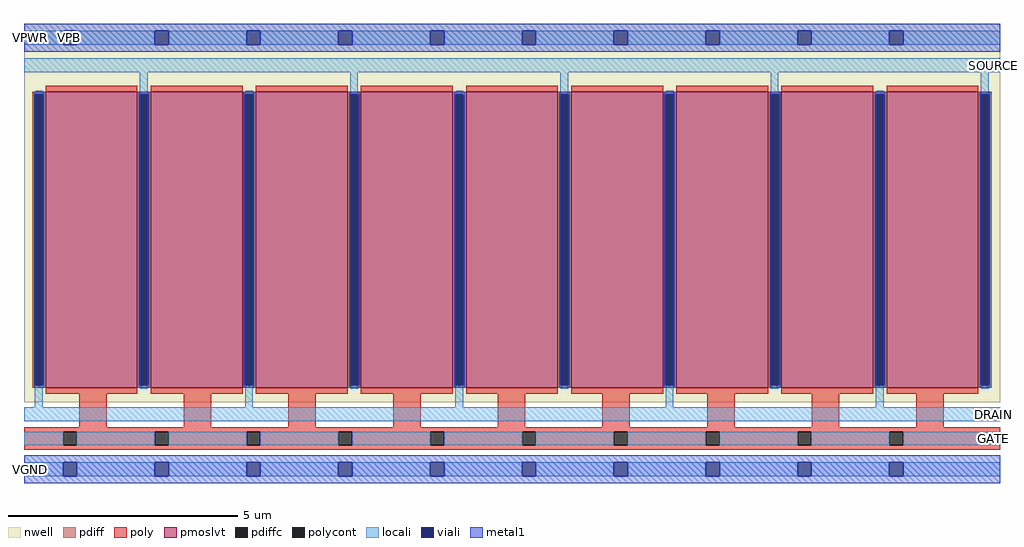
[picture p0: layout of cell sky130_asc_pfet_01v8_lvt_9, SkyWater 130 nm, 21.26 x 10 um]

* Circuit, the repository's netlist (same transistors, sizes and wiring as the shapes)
* NGSPICE file created from sky130_asc_pfet_01v8_lvt_9.ext - technology: sky130A

.subckt sky130_asc_pfet_01v8_lvt_9 GATE SOURCE DRAIN VGND VPWR
X0 DRAIN GATE SOURCE VPWR sky130_fd_pr__pfet_01v8_lvt ad=9.3525e+12p pd=6.74e+07u as=9.3525e+12p ps=6.74e+07u w=6.45e+06u l=2e+06u
X1 SOURCE GATE DRAIN VPWR sky130_fd_pr__pfet_01v8_lvt ad=0p pd=0u as=0p ps=0u w=6.45e+06u l=2e+06u
X2 DRAIN GATE SOURCE VPWR sky130_fd_pr__pfet_01v8_lvt ad=0p pd=0u as=0p ps=0u w=6.45e+06u l=2e+06u
X3 SOURCE GATE DRAIN VPWR sky130_fd_pr__pfet_01v8_lvt ad=0p pd=0u as=0p ps=0u w=6.45e+06u l=2e+06u
X4 DRAIN GATE SOURCE VPWR sky130_fd_pr__pfet_01v8_lvt ad=0p pd=0u as=0p ps=0u w=6.45e+06u l=2e+06u
X5 SOURCE GATE DRAIN VPWR sky130_fd_pr__pfet_01v8_lvt ad=0p pd=0u as=0p ps=0u w=6.45e+06u l=2e+06u
X6 DRAIN GATE SOURCE VPWR sky130_fd_pr__pfet_01v8_lvt ad=0p pd=0u as=0p ps=0u w=6.45e+06u l=2e+06u
X7 SOURCE GATE DRAIN VPWR sky130_fd_pr__pfet_01v8_lvt ad=0p pd=0u as=0p ps=0u w=6.45e+06u l=2e+06u
X8 SOURCE GATE DRAIN VPWR sky130_fd_pr__pfet_01v8_lvt ad=0p pd=0u as=0p ps=0u w=6.45e+06u l=2e+06u
.ends

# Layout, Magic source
magic
tech sky130A
magscale 1 2
<< nwell >>
rect 0 293 4252 1940
<< pmoslvt >>
rect 94 355 494 1645
rect 552 355 952 1645
rect 1010 355 1410 1645
rect 1468 355 1868 1645
rect 1926 355 2326 1645
rect 2384 355 2784 1645
rect 2842 355 3242 1645
rect 3300 355 3700 1645
rect 3758 355 4158 1645
<< pdiff >>
rect 36 1633 94 1645
rect 36 367 48 1633
rect 82 367 94 1633
rect 36 355 94 367
rect 494 1633 552 1645
rect 494 367 506 1633
rect 540 367 552 1633
rect 494 355 552 367
rect 952 1633 1010 1645
rect 952 367 964 1633
rect 998 367 1010 1633
rect 952 355 1010 367
rect 1410 1633 1468 1645
rect 1410 367 1422 1633
rect 1456 367 1468 1633
rect 1410 355 1468 367
rect 1868 1633 1926 1645
rect 1868 367 1880 1633
rect 1914 367 1926 1633
rect 1868 355 1926 367
rect 2326 1633 2384 1645
rect 2326 367 2338 1633
rect 2372 367 2384 1633
rect 2326 355 2384 367
rect 2784 1633 2842 1645
rect 2784 367 2796 1633
rect 2830 367 2842 1633
rect 2784 355 2842 367
rect 3242 1633 3300 1645
rect 3242 367 3254 1633
rect 3288 367 3300 1633
rect 3242 355 3300 367
rect 3700 1633 3758 1645
rect 3700 367 3712 1633
rect 3746 367 3758 1633
rect 3700 355 3758 367
rect 4158 1633 4216 1645
rect 4158 367 4170 1633
rect 4204 367 4216 1633
rect 4158 355 4216 367
<< pdiffc >>
rect 48 367 82 1633
rect 506 367 540 1633
rect 964 367 998 1633
rect 1422 367 1456 1633
rect 1880 367 1914 1633
rect 2338 367 2372 1633
rect 2796 367 2830 1633
rect 3254 367 3288 1633
rect 3712 367 3746 1633
rect 4170 367 4204 1633
<< poly >>
rect 94 1645 494 1671
rect 552 1645 952 1671
rect 1010 1645 1410 1671
rect 1468 1645 1868 1671
rect 1926 1645 2326 1671
rect 2384 1645 2784 1671
rect 2842 1645 3242 1671
rect 3300 1645 3700 1671
rect 3758 1645 4158 1671
rect 94 329 494 355
rect 552 329 952 355
rect 1010 329 1410 355
rect 1468 329 1868 355
rect 1926 329 2326 355
rect 2384 329 2784 355
rect 2842 329 3242 355
rect 3300 329 3700 355
rect 3758 329 4158 355
rect 240 184 360 329
rect 696 184 816 329
rect 1152 184 1272 329
rect 1608 184 1728 329
rect 2064 184 2184 329
rect 2520 184 2640 329
rect 2976 184 3096 329
rect 3432 184 3552 329
rect 3888 184 4008 329
rect 0 164 4252 184
rect 0 104 170 164
rect 230 104 570 164
rect 630 104 970 164
rect 1030 104 1370 164
rect 1430 104 1770 164
rect 1830 104 2170 164
rect 2230 104 2570 164
rect 2630 104 2970 164
rect 3030 104 3370 164
rect 3430 104 3770 164
rect 3830 104 4252 164
rect 0 84 4252 104
<< polycont >>
rect 170 104 230 164
rect 570 104 630 164
rect 970 104 1030 164
rect 1370 104 1430 164
rect 1770 104 1830 164
rect 2170 104 2230 164
rect 2570 104 2630 164
rect 2970 104 3030 164
rect 3370 104 3430 164
rect 3770 104 3830 164
<< locali >>
rect 0 1850 170 1910
rect 230 1850 570 1910
rect 630 1850 970 1910
rect 1030 1850 1370 1910
rect 1430 1850 1770 1910
rect 1830 1850 2170 1910
rect 2230 1850 2570 1910
rect 2630 1850 2970 1910
rect 3030 1850 3370 1910
rect 3430 1850 3770 1910
rect 3830 1850 4252 1910
rect 0 1730 4252 1790
rect 505 1649 539 1730
rect 1421 1649 1455 1730
rect 2337 1649 2371 1730
rect 3253 1649 3287 1730
rect 4169 1649 4203 1730
rect 48 1633 82 1649
rect 47 367 48 374
rect 505 1633 540 1649
rect 505 1626 506 1633
rect 47 351 82 367
rect 964 1633 998 1649
rect 506 351 540 367
rect 963 367 964 374
rect 1421 1633 1456 1649
rect 1421 1626 1422 1633
rect 963 351 998 367
rect 1880 1633 1914 1649
rect 1422 351 1456 367
rect 1879 367 1880 374
rect 2337 1633 2372 1649
rect 2337 1626 2338 1633
rect 1879 351 1914 367
rect 2796 1633 2830 1649
rect 2338 351 2372 367
rect 2795 367 2796 374
rect 3253 1633 3288 1649
rect 3253 1626 3254 1633
rect 2795 351 2830 367
rect 3712 1633 3746 1649
rect 3254 351 3288 367
rect 3711 367 3712 374
rect 4169 1633 4204 1649
rect 4169 1626 4170 1633
rect 3711 351 3746 367
rect 4170 351 4204 367
rect 47 270 81 351
rect 963 270 997 351
rect 1879 270 1913 351
rect 2795 270 2829 351
rect 3711 270 3745 351
rect 0 210 4252 270
rect 0 104 170 164
rect 230 104 570 164
rect 630 104 970 164
rect 1030 104 1370 164
rect 1430 104 1770 164
rect 1830 104 2170 164
rect 2230 104 2570 164
rect 2630 104 2970 164
rect 3030 104 3370 164
rect 3430 104 3770 164
rect 3830 104 4252 164
rect 0 -30 170 30
rect 230 -30 570 30
rect 630 -30 970 30
rect 1030 -30 1370 30
rect 1430 -30 1770 30
rect 1830 -30 2170 30
rect 2230 -30 2570 30
rect 2630 -30 2970 30
rect 3030 -30 3370 30
rect 3430 -30 3770 30
rect 3830 -30 4252 30
<< viali >>
rect 170 1850 230 1910
rect 570 1850 630 1910
rect 970 1850 1030 1910
rect 1370 1850 1430 1910
rect 1770 1850 1830 1910
rect 2170 1850 2230 1910
rect 2570 1850 2630 1910
rect 2970 1850 3030 1910
rect 3370 1850 3430 1910
rect 3770 1850 3830 1910
rect 48 367 82 1633
rect 506 367 540 1633
rect 964 367 998 1633
rect 1422 367 1456 1633
rect 1880 367 1914 1633
rect 2338 367 2372 1633
rect 2796 367 2830 1633
rect 3254 367 3288 1633
rect 3712 367 3746 1633
rect 4170 367 4204 1633
rect 170 -30 230 30
rect 570 -30 630 30
rect 970 -30 1030 30
rect 1370 -30 1430 30
rect 1770 -30 1830 30
rect 2170 -30 2230 30
rect 2570 -30 2630 30
rect 2970 -30 3030 30
rect 3370 -30 3430 30
rect 3770 -30 3830 30
<< metal1 >>
rect 0 1910 4252 1940
rect 0 1850 170 1910
rect 230 1850 570 1910
rect 630 1850 970 1910
rect 1030 1850 1370 1910
rect 1430 1850 1770 1910
rect 1830 1850 2170 1910
rect 2230 1850 2570 1910
rect 2630 1850 2970 1910
rect 3030 1850 3370 1910
rect 3430 1850 3770 1910
rect 3830 1850 4252 1910
rect 0 1820 4252 1850
rect 42 1633 88 1645
rect 42 367 48 1633
rect 82 367 88 1633
rect 42 355 88 367
rect 500 1633 546 1645
rect 500 367 506 1633
rect 540 367 546 1633
rect 500 355 546 367
rect 958 1633 1004 1645
rect 958 367 964 1633
rect 998 367 1004 1633
rect 958 355 1004 367
rect 1416 1633 1462 1645
rect 1416 367 1422 1633
rect 1456 367 1462 1633
rect 1416 355 1462 367
rect 1874 1633 1920 1645
rect 1874 367 1880 1633
rect 1914 367 1920 1633
rect 1874 355 1920 367
rect 2332 1633 2378 1645
rect 2332 367 2338 1633
rect 2372 367 2378 1633
rect 2332 355 2378 367
rect 2790 1633 2836 1645
rect 2790 367 2796 1633
rect 2830 367 2836 1633
rect 2790 355 2836 367
rect 3248 1633 3294 1645
rect 3248 367 3254 1633
rect 3288 367 3294 1633
rect 3248 355 3294 367
rect 3706 1633 3752 1645
rect 3706 367 3712 1633
rect 3746 367 3752 1633
rect 3706 355 3752 367
rect 4164 1633 4210 1645
rect 4164 367 4170 1633
rect 4204 367 4210 1633
rect 4164 355 4210 367
rect 0 30 4252 60
rect 0 -30 170 30
rect 230 -30 570 30
rect 630 -30 970 30
rect 1030 -30 1370 30
rect 1430 -30 1770 30
rect 1830 -30 2170 30
rect 2230 -30 2570 30
rect 2630 -30 2970 30
rect 3030 -30 3370 30
rect 3430 -30 3770 30
rect 3830 -30 4252 30
rect 0 -60 4252 -30
<< labels >>
flabel nwell 170 1850 230 1910 1 FreeSans 800 0 0 0 VPB
port 4 n power bidirectional
flabel metal1 0 1850 60 1910 1 FreeSans 800 0 0 0 VPWR
port 5 n power bidirectional
flabel metal1 0 -30 60 30 1 FreeSans 800 0 0 0 VGND
port 6 n ground bidirectional
flabel locali 4192 1730 4252 1790 1 FreeSans 800 0 0 0 SOURCE
port 2 n signal bidirectional
flabel locali 4192 210 4252 270 1 FreeSans 800 0 0 0 DRAIN
port 3 n signal bidirectional
flabel locali 4192 104 4252 164 1 FreeSans 800 0 0 0 GATE
port 1 n signal bidirectional
<< properties >>
string FIXED_BBOX 0 0 588 1880
string LEFclass CORE
string LEFsite unitasc
<< end >>
